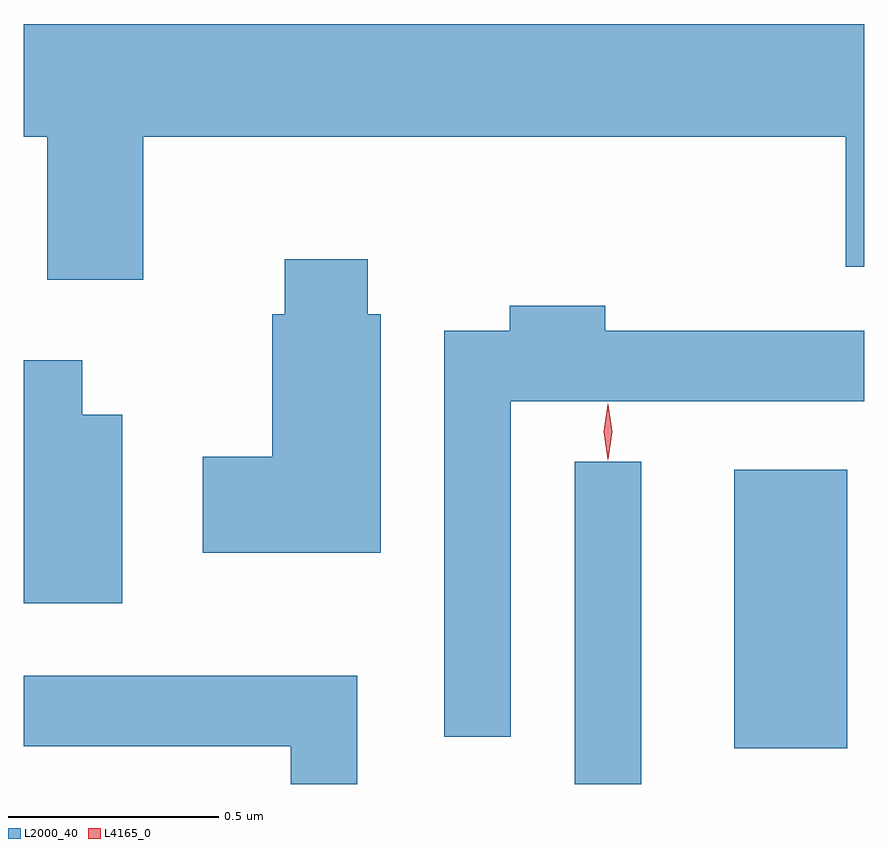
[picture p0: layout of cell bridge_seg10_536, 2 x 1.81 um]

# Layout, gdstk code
import gdstk
lib = gdstk.Library(unit=1e-6, precision=1e-09)
def R(c, l, rs):  # rectangles x0, y0, x1, y1
    for r in rs: c.add(gdstk.rectangle(r[:2], r[2:], *l))
def P(c, l, *ps):  # polygons
    for p in ps: c.add(gdstk.Polygon(p, *l))
L2000_40 = (2000, 40)
L4165_0 = (4165, 0)

bridge_seg10_536 = lib.new_cell('bridge_seg10_536')
R(bridge_seg10_536, L2000_40, [(911.586,2176.756,911.744,2177.523), (911.966,2176.841,912.234,2177.504)])
P(bridge_seg10_536, L2000_40, [(910.559,2178.296),(912.231,2178.296),(912.231,2177.986),(912.275,2177.986),(912.275,2178.564),(910.275,2178.564),(910.275,2178.296),(910.331,2178.296),(910.331,2177.956),(910.559,2177.956)],
  [(911.124,2177.874),(911.094,2177.874),(911.094,2178.004),(910.896,2178.004),(910.896,2177.874),(910.866,2177.874),(910.866,2177.534),(910.701,2177.534),(910.701,2177.306),(911.124,2177.306)],
  [(911.434,2177.666),(912.275,2177.666),(912.275,2177.834),(911.659,2177.834),(911.659,2177.894),(911.431,2177.894),(911.431,2177.834),(911.276,2177.834),(911.276,2176.868),(911.434,2176.868)],
  [(910.509,2177.634),(910.414,2177.634),(910.414,2177.764),(910.275,2177.764),(910.275,2177.186),(910.509,2177.186)],
  [(911.069,2177.014),(910.275,2177.014),(910.275,2176.846),(910.911,2176.846),(910.911,2176.756),(911.069,2176.756)])
P(bridge_seg10_536, L4165_0, [(911.665,2177.527),(911.664,2177.528),(911.655,2177.594),(911.664,2177.66),(911.665,2177.661),(911.666,2177.66),(911.675,2177.594),(911.666,2177.528)])

lib.write_gds('bridge_seg10_536.gds')
